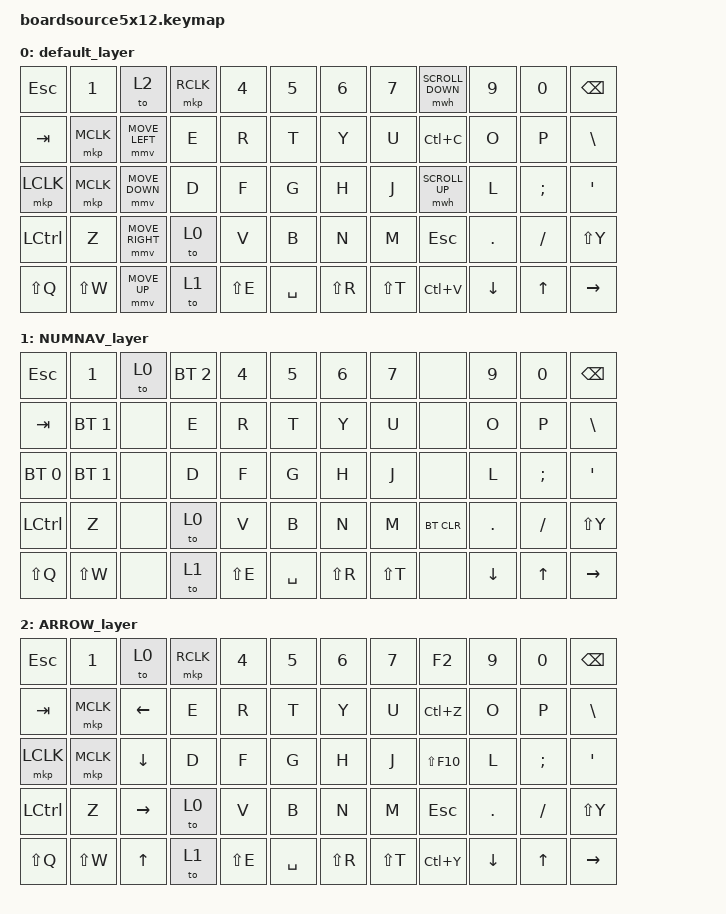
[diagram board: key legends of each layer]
/*
 * Copyright (c) 2021 The ZMK Contributors
 *
 * SPDX-License-Identifier: MIT
 */
 
#include <behaviors.dtsi>
#include <dt-bindings/zmk/keys.h>
#include <dt-bindings/zmk/bt.h>
#include <dt-bindings/zmk/outputs.h>
#include <dt-bindings/zmk/mouse.h>

#define DEFAULT 0
#define NUMNAV 1 
#define ARROW 2 

/ {
    keymap {
        compatible = "zmk,keymap";

        default_layer {
            // ------------------------------------------------------------------------------------------
            // |  ESC  |  1   |  2   |  3   |  4   |  5   |   6   |  7    |  8   |  9   |   0   | BSPC  |
            // |  TAB  |  Q   |  W   |  E   |  R   |  T   |   Y   |  U    |  I   |  O   |   P   |  \    |
            // | SHIFT |  A   |  S   |  D   |  F   |  G   |   H   |  J    |  K   |  L   |   ;   |  '    |
            // | CTRL  |  Z   |  X   |  C   |  V   |  B   |   N   |  M    |  ,   |  .   |   /   | ENTER |
            // |ADJUST | LCTL | LALT | LGUI | LOWR | SPACE| SPACE |  RAIS | LARW | DARW | UARW  | RARW  |


            bindings = <
                &kp ESC        &kp N1       &to 2                &mkp RCLK   &kp N4     &kp N5      &kp N6      &kp N7       &mwh SCROLL_DOWN  &kp N9      &kp N0      &kp BSPC
                &kp TAB        &mkp MCLK    &mmv MOVE_LEFT       &kp E       &kp R      &kp T       &kp Y       &kp U        &kp LC(C)         &kp O       &kp P       &kp BSLH
                &mkp LCLK      &mkp MCLK    &mmv MOVE_DOWN       &kp D       &kp F      &kp G       &kp H       &kp J        &mwh SCROLL_UP    &kp L       &kp SEMI    &kp SQT
                &kp LCTRL      &kp Z        &mmv MOVE_RIGHT      &to 0       &kp V      &kp B       &kp N       &kp M        &kp ESC           &kp DOT     &kp FSLH    &kp LS(Y)
                &kp LS(Q)      &kp LS(W)    &mmv MOVE_UP         &to 1       &kp LS(E)  &kp SPACE   &kp LS(R)   &kp LS(T)    &kp LC(V)         &kp DOWN    &kp UP      &kp RIGHT  
            >;
        };
        
        NUMNAV_layer {
                    bindings = <
                &kp ESC        &kp N1        &to 0             &bt BT_SEL 2   &kp N4     &kp N5      &kp N6      &kp N7      &none         &kp N9      &kp N0      &kp BSPC
                &kp TAB        &bt BT_SEL 1  &none             &kp E          &kp R      &kp T       &kp Y       &kp U       &none         &kp O       &kp P       &kp BSLH
                &bt BT_SEL 0   &bt BT_SEL 1  &none             &kp D          &kp F      &kp G       &kp H       &kp J       &none         &kp L       &kp SEMI    &kp SQT
                &kp LCTRL      &kp Z         &none             &to 0          &kp V      &kp B       &kp N       &kp M       &bt BT_CLR    &kp DOT     &kp FSLH    &kp LS(Y)
                &kp LS(Q)      &kp LS(W)     &none             &to 1          &kp LS(E)  &kp SPACE   &kp LS(R)   &kp LS(T)   &none      &kp DOWN    &kp UP      &kp RIGHT  
            >;
        };
         ARROW_layer {
            bindings = <
                &kp ESC        &kp N1       &to 0          &mkp RCLK   &kp N4     &kp N5      &kp N6      &kp N7       &kp F2            &kp N9      &kp N0      &kp BSPC
                &kp TAB        &mkp MCLK    &kp LEFT       &kp E       &kp R      &kp T       &kp Y       &kp U        &kp LC(Z)         &kp O       &kp P       &kp BSLH
                &mkp LCLK      &mkp MCLK    &kp DOWN       &kp D       &kp F      &kp G       &kp H       &kp J        &kp LS(F10)       &kp L       &kp SEMI    &kp SQT
                &kp LCTRL      &kp Z        &kp RIGHT      &to 0       &kp V      &kp B       &kp N       &kp M        &kp ESC           &kp DOT     &kp FSLH    &kp LS(Y)
                &kp LS(Q)      &kp LS(W)    &kp UP         &to 1       &kp LS(E)  &kp SPACE   &kp LS(R)   &kp LS(T)    &kp LC(Y)         &kp DOWN    &kp UP      &kp RIGHT  
            >;
        };
    };
};
